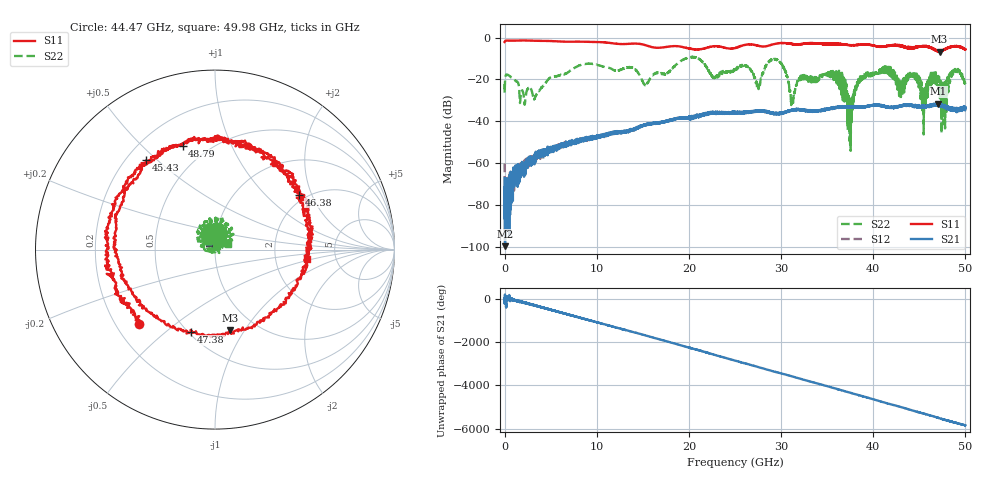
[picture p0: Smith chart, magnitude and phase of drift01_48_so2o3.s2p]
!Created with skrf (http://scikit-rf.org).
# Hz S RI R 50.0
!freq ReS11 ImS11 ReS21 ImS21 ReS12 ImS12 ReS22 ImS22
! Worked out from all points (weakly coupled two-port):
!   10001 points, 300 kHz to 50 GHz, reference 50 ohm
!   highest |S21| = -31.54 dB at 47.06 GHz (marker M1); lowest = -99.8 dB at 45.3 MHz (marker M2)
!   lowest |S11| = -6.8 dB at 47.2 GHz (marker M3), VSWR 2.69, Z = 38.1 - j43.4 ohm
!   |S11| at or under -10 dB: nowhere
!   |S22| runs from -54.2 to -9.2 dB; largest |S21 - S12| = 0.0045
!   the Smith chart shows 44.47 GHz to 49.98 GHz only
!   S11 on the Smith chart (normalised r, x): 44.47 GHz: 0.30, -0.38; 45.43 GHz: 0.28, +0.46; 46.38 GHz: 1.82, +1.63; 47.38 GHz: 0.52, -0.61; 48.79 GHz: 0.37, +0.67; 49.98 GHz: 3.04, -0.44
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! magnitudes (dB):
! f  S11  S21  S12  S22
! 300 kHz  -2.1  -67.2  -60.2  -22.2
! 45.3 MHz  -1.7  -99.8  -80.1  -20.6
! 3.29 GHz  -1.5  -58.5  -55.9  -28.8
! 8.335 GHz  -2.0  -48.6  -48.6  -12.9
! 16.67 GHz  -4.9  -40.6  -40.8  -16.6
! 25 GHz  -5.0  -35.8  -36.0  -15.6
! 29.6 GHz  -2.8  -36.6  -36.3  -10.6
! 31.24 GHz  -3.0  -34.7  -34.6  -31.1
! 33.34 GHz  -2.6  -35.0  -35.1  -19.7
! 36.26 GHz  -2.9  -32.9  -33.3  -17.3
! 37.47 GHz  -3.6  -33.0  -33.2  -35.3
! 38.68 GHz  -3.4  -33.2  -33.4  -20.3
! 41.67 GHz  -3.9  -33.3  -33.3  -15.5
! 44.47 GHz  -4.6  -32.7  -32.4  -18.7
! 45.43 GHz  -4.0  -33.1  -33.0  -28.0
! 46.38 GHz  -5.0  -32.6  -32.3  -20.6
! 47.06 GHz  -6.4  -31.5  -32.1  -24.9
! 47.2 GHz  -6.8  -32.3  -32.5  -24.3
! 47.38 GHz  -6.4  -32.3  -32.2  -26.6
! 48.79 GHz  -4.3  -34.8  -34.6  -16.8
! 49.98 GHz  -5.8  -33.7  -33.4  -22.0
! 50 GHz  -5.7  -33.5  -33.7  -21.8
